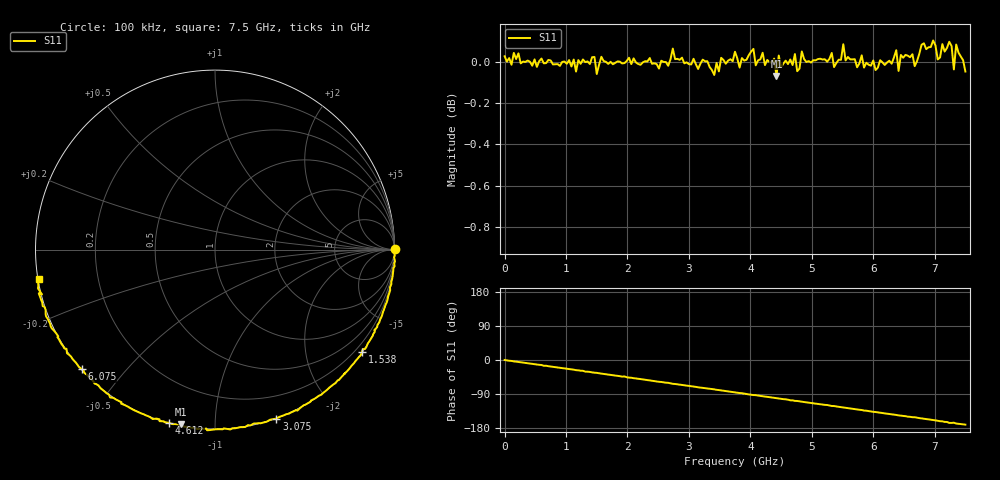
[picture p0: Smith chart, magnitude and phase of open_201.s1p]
# Hz S RI R 50.000000
! FREQ  re:S1  1  im:S1  1
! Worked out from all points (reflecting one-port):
!   201 points, 100 kHz to 7.5 GHz, reference 50 ohm
!   lowest |S11| = -0.1 dB at 4.425 GHz (marker M1), VSWR 254.91, Z = 0.33 - j41.3 ohm
!   phase of S11 starts at 0 deg and turns -171 deg over the sweep
!   S11 on the Smith chart (normalised r, x): 100 kHz: open; 1.538 GHz: 0.01, -3.17; 3.075 GHz: -0.00, -1.43; 4.612 GHz: 0.00, -0.77; 6.075 GHz: 0.00, -0.38; 7.5 GHz: 0.00, -0.08
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100000  1.003 0.000637
6.00084e8  0.9758 -0.2278
6.37583e8  0.9641 -0.2629
6.75082e8  0.9647 -0.2612
9.37575e8  0.9315 -0.364
1.275066e9  0.8806 -0.477
1.312565e9  0.8596 -0.5109
1.537559e9  0.8179 -0.5727
1.87505e9  0.7353 -0.6781
1.950048e9  0.7258 -0.687
2.025046e9  0.6899 -0.7272
2.812525e9  0.4372 -0.9013
3.075018e9  0.3426 -0.9414
3.75e9  0.0853 -1.002
4.199988e9  -0.0991 -1
4.424982e9  -0.1884 -0.9741
4.612477e9  -0.2539 -0.9661
4.687475e9  -0.2848 -0.9568
5.24996e9  -0.4811 -0.8769
5.324958e9  -0.5233 -0.8582
5.62495e9  -0.6159 -0.7897
6.074938e9  -0.7435 -0.6641
6.562425e9  -0.8653 -0.5083
7.199908e9  -0.9665 -0.2862
7.237407e9  -0.9817 -0.2433
7.312405e9  -0.964 -0.2501
7.349904e9  -0.9866 -0.2154
7.4999e9  -0.9815 -0.162
